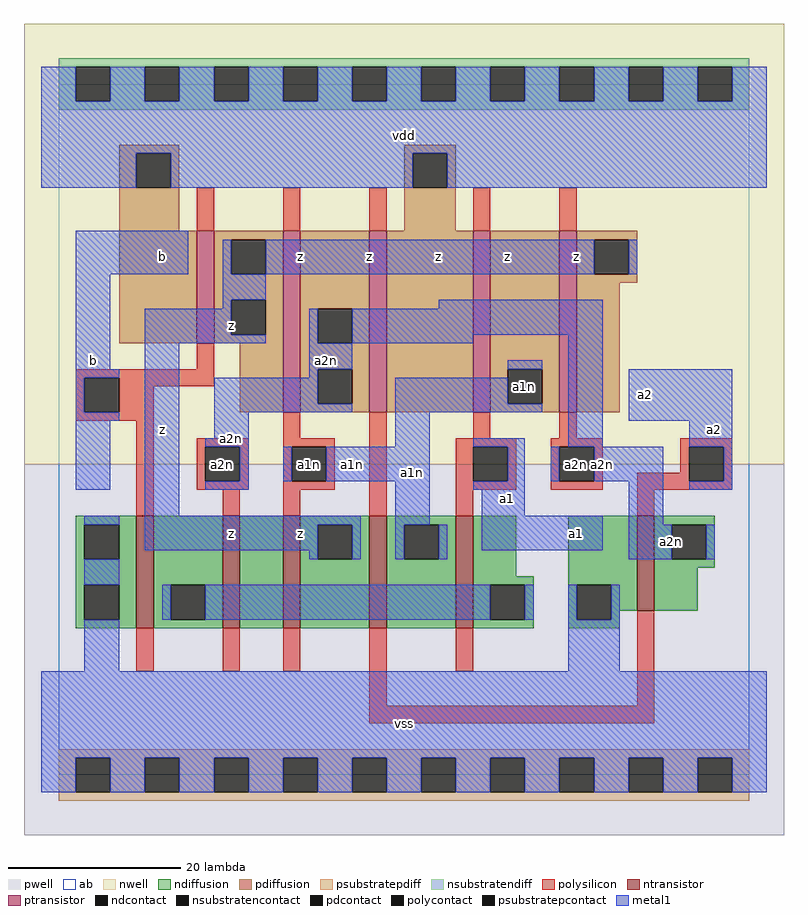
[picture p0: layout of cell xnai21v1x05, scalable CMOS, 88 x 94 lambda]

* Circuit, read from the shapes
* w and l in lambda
.subckt xnai21v1x05 a1 a1n a2 a2n b vdd vss z
M1 n1 b vss vss nfet w=13 l=2
M2 n2 a2n n1 vss nfet w=13 l=2
M3 z a1n n2 vss nfet w=13 l=2
M4 a1n a2 z vss nfet w=13 l=2
M5 n1 a1 a1n vss nfet w=13 l=2
M6 a2n a2 vss vss nfet w=11 l=2
M7 z b vdd vdd pfet w=13 l=2
M8 a2n a1n z vdd pfet w=21 l=2
M9 vdd a2 a2n vdd pfet w=21 l=2
M10 a1n a1 vdd vdd pfet w=21 l=2
M11 z a2n a1n vdd pfet w=21 l=2
.ends

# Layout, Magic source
magic
tech scmos
<< ab >>
rect 0 0 80 80
<< pwell >>
rect -4 -7 84 36
<< nwell >>
rect -4 36 84 87
<< polysilicon >>
rect 16 63 18 68
rect 26 63 28 68
rect 36 63 38 68
rect 48 63 50 68
rect 58 63 60 68
rect 16 47 18 50
rect 2 46 18 47
rect 2 42 3 46
rect 7 45 18 46
rect 7 42 11 45
rect 2 41 11 42
rect 9 30 11 41
rect 26 39 28 42
rect 16 38 22 39
rect 16 34 17 38
rect 21 34 22 38
rect 16 33 22 34
rect 26 38 32 39
rect 26 34 27 38
rect 31 34 32 38
rect 26 33 32 34
rect 19 30 21 33
rect 26 30 28 33
rect 36 30 38 42
rect 48 39 50 42
rect 58 39 60 42
rect 46 38 53 39
rect 46 34 48 38
rect 52 34 53 38
rect 46 33 53 34
rect 57 38 63 39
rect 57 34 58 38
rect 62 34 63 38
rect 72 38 78 39
rect 72 35 73 38
rect 57 33 63 34
rect 67 34 73 35
rect 77 34 78 38
rect 67 33 78 34
rect 46 30 48 33
rect 67 30 69 33
rect 9 12 11 17
rect 19 12 21 17
rect 26 12 28 17
rect 36 8 38 17
rect 46 12 48 17
rect 67 8 69 19
rect 36 6 69 8
<< ndiffusion >>
rect 2 29 9 30
rect 2 25 3 29
rect 7 25 9 29
rect 2 22 9 25
rect 2 18 3 22
rect 7 18 9 22
rect 2 17 9 18
rect 11 22 19 30
rect 11 18 13 22
rect 17 18 19 22
rect 11 17 19 18
rect 21 17 26 30
rect 28 29 36 30
rect 28 25 30 29
rect 34 25 36 29
rect 28 17 36 25
rect 38 29 46 30
rect 38 25 40 29
rect 44 25 46 29
rect 38 17 46 25
rect 48 23 53 30
rect 48 22 55 23
rect 48 18 50 22
rect 54 18 55 22
rect 48 17 55 18
rect 59 22 67 30
rect 59 18 60 22
rect 64 19 67 22
rect 69 29 76 30
rect 69 25 71 29
rect 75 25 76 29
rect 69 24 76 25
rect 69 19 74 24
rect 64 18 65 19
rect 59 17 65 18
<< pdiffusion >>
rect 7 72 14 73
rect 7 68 9 72
rect 13 68 14 72
rect 40 72 46 73
rect 40 68 41 72
rect 45 68 46 72
rect 7 63 14 68
rect 40 63 46 68
rect 7 50 16 63
rect 18 62 26 63
rect 18 58 20 62
rect 24 58 26 62
rect 18 55 26 58
rect 18 51 20 55
rect 24 51 26 55
rect 18 50 26 51
rect 21 42 26 50
rect 28 54 36 63
rect 28 50 30 54
rect 34 50 36 54
rect 28 47 36 50
rect 28 43 30 47
rect 34 43 36 47
rect 28 42 36 43
rect 38 42 48 63
rect 50 47 58 63
rect 50 43 52 47
rect 56 43 58 47
rect 50 42 58 43
rect 60 62 67 63
rect 60 58 62 62
rect 66 58 67 62
rect 60 57 67 58
rect 60 42 65 57
<< metal1 >>
rect -2 78 2 82
rect 6 78 10 82
rect 14 78 18 82
rect 22 78 26 82
rect 30 78 34 82
rect 38 78 42 82
rect 46 78 50 82
rect 54 78 58 82
rect 62 78 66 82
rect 70 78 74 82
rect 78 78 82 82
rect -2 72 82 78
rect -2 68 9 72
rect 13 68 41 72
rect 45 68 82 72
rect 2 58 15 63
rect 19 58 20 62
rect 24 58 62 62
rect 66 58 67 62
rect 2 47 6 58
rect 19 55 24 58
rect 19 54 20 55
rect 10 51 20 54
rect 44 54 63 55
rect 10 50 24 51
rect 29 50 30 54
rect 34 51 63 54
rect 34 50 48 51
rect 2 46 7 47
rect 2 42 3 46
rect 2 41 7 42
rect 2 33 6 41
rect 10 30 14 50
rect 29 47 34 50
rect 29 46 30 47
rect 18 43 30 46
rect 52 47 56 48
rect 18 42 34 43
rect 39 43 52 46
rect 39 42 56 43
rect 18 39 22 42
rect 17 38 22 39
rect 39 38 43 42
rect 21 34 22 38
rect 26 34 27 38
rect 31 34 43 38
rect 17 33 22 34
rect 3 29 7 30
rect 10 29 35 30
rect 10 26 30 29
rect 29 25 30 26
rect 34 25 35 29
rect 39 29 43 34
rect 48 38 54 39
rect 59 38 63 51
rect 66 41 78 47
rect 73 38 78 41
rect 52 34 54 38
rect 57 34 58 38
rect 62 34 70 38
rect 48 33 54 34
rect 49 30 54 33
rect 39 25 40 29
rect 44 25 45 29
rect 49 26 63 30
rect 66 29 70 34
rect 77 34 78 38
rect 73 33 78 34
rect 66 25 71 29
rect 75 25 76 29
rect 3 22 7 25
rect 12 18 13 22
rect 17 18 50 22
rect 54 18 55 22
rect 59 18 60 22
rect 64 18 65 22
rect 3 12 7 18
rect 59 12 65 18
rect -2 2 82 12
rect -2 -2 2 2
rect 6 -2 10 2
rect 14 -2 18 2
rect 22 -2 26 2
rect 30 -2 34 2
rect 38 -2 42 2
rect 46 -2 50 2
rect 54 -2 58 2
rect 62 -2 66 2
rect 70 -2 74 2
rect 78 -2 82 2
<< ntransistor >>
rect 9 17 11 30
rect 19 17 21 30
rect 26 17 28 30
rect 36 17 38 30
rect 46 17 48 30
rect 67 19 69 30
<< ptransistor >>
rect 16 50 18 63
rect 26 42 28 63
rect 36 42 38 63
rect 48 42 50 63
rect 58 42 60 63
<< polycontact >>
rect 3 42 7 46
rect 17 34 21 38
rect 27 34 31 38
rect 48 34 52 38
rect 58 34 62 38
rect 73 34 77 38
<< ndcontact >>
rect 3 25 7 29
rect 3 18 7 22
rect 13 18 17 22
rect 30 25 34 29
rect 40 25 44 29
rect 50 18 54 22
rect 60 18 64 22
rect 71 25 75 29
<< pdcontact >>
rect 9 68 13 72
rect 41 68 45 72
rect 20 58 24 62
rect 20 51 24 55
rect 30 50 34 54
rect 30 43 34 47
rect 52 43 56 47
rect 62 58 66 62
<< psubstratepcontact >>
rect 2 -2 6 2
rect 10 -2 14 2
rect 18 -2 22 2
rect 26 -2 30 2
rect 34 -2 38 2
rect 42 -2 46 2
rect 50 -2 54 2
rect 58 -2 62 2
rect 66 -2 70 2
rect 74 -2 78 2
<< nsubstratencontact >>
rect 2 78 6 82
rect 10 78 14 82
rect 18 78 22 82
rect 26 78 30 82
rect 34 78 38 82
rect 42 78 46 82
rect 50 78 54 82
rect 58 78 62 82
rect 66 78 70 82
rect 74 78 78 82
<< psubstratepdiff >>
rect 0 2 80 3
rect 0 -2 2 2
rect 6 -2 10 2
rect 14 -2 18 2
rect 22 -2 26 2
rect 30 -2 34 2
rect 38 -2 42 2
rect 46 -2 50 2
rect 54 -2 58 2
rect 62 -2 66 2
rect 70 -2 74 2
rect 78 -2 80 2
rect 0 -3 80 -2
<< nsubstratendiff >>
rect 0 82 80 83
rect 0 78 2 82
rect 6 78 10 82
rect 14 78 18 82
rect 22 78 26 82
rect 30 78 34 82
rect 38 78 42 82
rect 46 78 50 82
rect 54 78 58 82
rect 62 78 66 82
rect 70 78 74 82
rect 78 78 80 82
rect 0 77 80 78
<< labels >>
rlabel polycontact 19 36 19 36 6 a2n
rlabel polycontact 29 36 29 36 6 a1n
rlabel polycontact 60 36 60 36 6 a2n
rlabel metal1 4 48 4 48 6 b
rlabel metal1 28 28 28 28 6 z
rlabel metal1 20 28 20 28 6 z
rlabel metal1 20 39 20 39 6 a2n
rlabel metal1 12 40 12 40 6 z
rlabel metal1 20 52 20 52 6 z
rlabel metal1 12 60 12 60 6 b
rlabel metal1 28 60 28 60 6 z
rlabel metal1 40 6 40 6 6 vss
rlabel metal1 41 35 41 35 6 a1n
rlabel metal1 34 36 34 36 6 a1n
rlabel metal1 31 48 31 48 6 a2n
rlabel metal1 36 60 36 60 6 z
rlabel metal1 44 60 44 60 6 z
rlabel metal1 40 74 40 74 6 vdd
rlabel metal1 60 28 60 28 6 a1
rlabel metal1 52 32 52 32 6 a1
rlabel pdcontact 54 45 54 45 6 a1n
rlabel metal1 52 60 52 60 6 z
rlabel metal1 60 60 60 60 6 z
rlabel metal1 71 27 71 27 6 a2n
rlabel metal1 68 44 68 44 6 a2
rlabel metal1 63 36 63 36 6 a2n
rlabel metal1 76 40 76 40 6 a2
<< end >>
